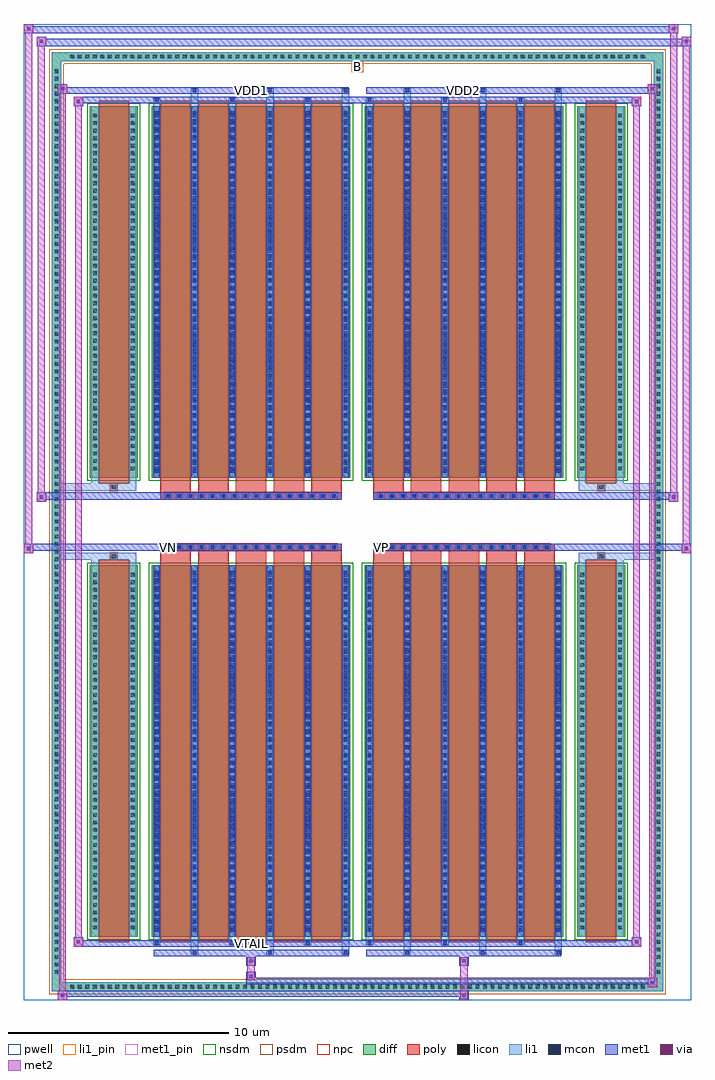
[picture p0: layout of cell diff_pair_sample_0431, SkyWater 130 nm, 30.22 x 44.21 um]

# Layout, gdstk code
import gdstk
lib = gdstk.Library(unit=1e-6, precision=5e-09)
def R(c, l, rs):  # rectangles x0, y0, x1, y1
    for r in rs: c.add(gdstk.rectangle(r[:2], r[2:], *l))
def A(c, l, x, y, w, h, nx, ny, dx, dy):  # array of equal rectangles
    R(c, l, [(x+i*dx, y+j*dy, x+i*dx+w, y+j*dy+h) for i in range(nx) for j in range(ny)])
def P(c, l, *ps):  # polygons
    for p in ps: c.add(gdstk.Polygon(p, *l))
pwell = (64, 44)
diff = (65, 20)
poly = (66, 20)
licon = (66, 44)
li1_pin = (67, 16)
li1 = (67, 20)
mcon = (67, 44)
met1_pin = (68, 16)
met1 = (68, 20)
via = (68, 44)
met2 = (69, 20)
nsdm = (93, 44)
psdm = (94, 20)
npc = (95, 20)

diff_pair_sample_0431 = lib.new_cell('diff_pair_sample_0431')
R(diff_pair_sample_0431, pwell, [(-15.11,-21.67,15.11,22.54), (-12.43,-19.86,-0.01,-0.8), (0.01,-19.86,12.43,-0.8), (-12.43,0.8,-0.01,19.86), (0.01,0.8,12.43,19.86)])
A(diff_pair_sample_0431, diff, -13.125, -21.27, 0.41, 0.41, 77, 2, 0.34, 42.13)
A(diff_pair_sample_0431, diff, -13.84, -20.605, 0.41, 0.41, 1, 121, 0, 0.34)
A(diff_pair_sample_0431, diff, 13.43, -20.605, 0.41, 0.41, 1, 121, 0, 0.34)
R(diff_pair_sample_0431, diff, [(-13.125,-21.27,13.125,-20.86), (-13.84,-20.605,-13.43,20.605), (13.43,-20.605,13.84,20.605), (-12.12,-18.815,-9.96,-1.985), (-9.32,-18.815,-0.32,-1.985), (0.32,-18.815,9.32,-1.985), (9.96,-18.815,12.12,-1.985), (-12.12,1.985,-9.96,18.815), (-9.32,1.985,-0.32,18.815), (0.32,1.985,9.32,18.815), (9.96,1.985,12.12,18.815), (-13.125,20.86,13.125,21.27)])
P(diff_pair_sample_0431, diff, [(13.84,21.27),(-13.84,21.27),(-13.84,-20.86),(-13.43,-20.86),(-13.43,20.86),(13.43,20.86),(13.43,-20.86),(-13.43,-20.86),(-13.84,-20.86),(-13.84,-21.27),(13.84,-21.27)])
A(diff_pair_sample_0431, poly, -8.93, -19.065, 1.38, 17.33, 5, 2, 1.71, 20.8)
A(diff_pair_sample_0431, poly, 0.71, -19.065, 1.38, 17.33, 5, 2, 1.71, 20.8)
A(diff_pair_sample_0431, poly, -8.93, -1.735, 1.38, 0.405, 5, 2, 1.71, 3.065)
A(diff_pair_sample_0431, poly, 0.71, -1.735, 1.38, 0.405, 5, 2, 1.71, 3.065)
A(diff_pair_sample_0431, poly, -8.735, -1.33, 0.33, 0.33, 16, 2, 0.5, 2.33)
A(diff_pair_sample_0431, poly, 0.905, -1.33, 0.33, 0.33, 16, 2, 0.5, 2.33)
R(diff_pair_sample_0431, poly, [(-11.73,-19.065,-10.35,-1.735), (10.35,-19.065,11.73,-1.735), (-11.205,-1.735,-10.875,-1.405), (-11.205,-1.735,-10.875,-1.405), (10.875,-1.735,11.205,-1.405), (10.875,-1.735,11.205,-1.405), (-8.93,-1.33,-0.71,-1), (0.71,-1.33,8.93,-1), (-8.93,1,-0.71,1.33), (0.71,1,8.93,1.33), (-11.205,1.405,-10.875,1.735), (-11.205,1.405,-10.875,1.735), (10.875,1.405,11.205,1.735), (10.875,1.405,11.205,1.735), (-11.73,1.735,-10.35,19.065), (10.35,1.735,11.73,19.065)])
A(diff_pair_sample_0431, licon, -13.005, -21.15, 0.17, 0.17, 77, 2, 0.34, 42.13)
A(diff_pair_sample_0431, licon, -13.72, -20.485, 0.17, 0.17, 1, 121, 0, 0.34)
A(diff_pair_sample_0431, licon, 13.55, -20.485, 0.17, 0.17, 1, 121, 0, 0.34)
A(diff_pair_sample_0431, licon, -11.98, -18.475, 0.17, 0.17, 1, 48, 0, 0.34)
A(diff_pair_sample_0431, licon, -10.27, -18.475, 0.17, 0.17, 1, 48, 0, 0.34)
A(diff_pair_sample_0431, licon, -9.18, -18.475, 0.17, 0.17, 6, 48, 1.71, 0.34)
A(diff_pair_sample_0431, licon, 0.46, -18.475, 0.17, 0.17, 6, 48, 1.71, 0.34)
A(diff_pair_sample_0431, licon, 10.1, -18.475, 0.17, 0.17, 1, 48, 0, 0.34)
A(diff_pair_sample_0431, licon, 11.81, -18.475, 0.17, 0.17, 1, 48, 0, 0.34)
A(diff_pair_sample_0431, licon, -8.655, -1.25, 0.17, 0.17, 16, 2, 0.5, 2.33)
A(diff_pair_sample_0431, licon, 0.985, -1.25, 0.17, 0.17, 16, 2, 0.5, 2.33)
A(diff_pair_sample_0431, licon, -11.98, 2.325, 0.17, 0.17, 1, 48, 0, 0.34)
A(diff_pair_sample_0431, licon, -10.27, 2.325, 0.17, 0.17, 1, 48, 0, 0.34)
A(diff_pair_sample_0431, licon, -9.18, 2.325, 0.17, 0.17, 6, 48, 1.71, 0.34)
A(diff_pair_sample_0431, licon, 0.46, 2.325, 0.17, 0.17, 6, 48, 1.71, 0.34)
A(diff_pair_sample_0431, licon, 10.1, 2.325, 0.17, 0.17, 1, 48, 0, 0.34)
A(diff_pair_sample_0431, licon, 11.81, 2.325, 0.17, 0.17, 1, 48, 0, 0.34)
R(diff_pair_sample_0431, licon, [(-11.125,-1.655,-10.955,-1.485), (10.955,-1.655,11.125,-1.485), (-11.125,1.485,-10.955,1.655), (10.955,1.485,11.125,1.655)])
R(diff_pair_sample_0431, li1_pin, [(-0.25,20.36,0.25,20.86)])
A(diff_pair_sample_0431, li1, -13.085, -21.23, 0.33, 0.33, 77, 2, 0.34, 42.13)
A(diff_pair_sample_0431, li1, -13.8, -20.565, 0.33, 0.33, 1, 121, 0, 0.34)
A(diff_pair_sample_0431, li1, 13.47, -20.565, 0.33, 0.33, 1, 121, 0, 0.34)
A(diff_pair_sample_0431, li1, -7.55, -19.62, 0.33, 0.805, 3, 2, 3.42, 38.435)
A(diff_pair_sample_0431, li1, -7.47, -19.62, 0.17, 0.17, 3, 2, 3.42, 39.07)
A(diff_pair_sample_0431, li1, 2.09, -19.62, 0.33, 0.805, 3, 2, 3.42, 38.435)
A(diff_pair_sample_0431, li1, 2.17, -19.62, 0.17, 0.17, 3, 2, 3.42, 39.07)
A(diff_pair_sample_0431, li1, -9.26, -19.19, 0.33, 0.375, 3, 2, 3.42, 38.005)
A(diff_pair_sample_0431, li1, -9.18, -19.19, 0.17, 0.17, 3, 2, 3.42, 38.21)
A(diff_pair_sample_0431, li1, 0.38, -19.19, 0.33, 0.375, 3, 2, 3.42, 38.005)
A(diff_pair_sample_0431, li1, 0.46, -19.19, 0.17, 0.17, 3, 2, 3.42, 38.21)
A(diff_pair_sample_0431, li1, -9.26, -18.815, 0.33, 16.83, 6, 2, 1.71, 20.8)
A(diff_pair_sample_0431, li1, 0.38, -18.815, 0.33, 16.83, 6, 2, 1.71, 20.8)
A(diff_pair_sample_0431, li1, -9.18, -18.585, 0.17, 0.17, 6, 46, 1.71, 0.36)
A(diff_pair_sample_0431, li1, -9.18, -18.585, 0.17, 16.37, 6, 2, 1.71, 20.8)
A(diff_pair_sample_0431, li1, 0.46, -18.585, 0.17, 0.17, 6, 46, 1.71, 0.36)
A(diff_pair_sample_0431, li1, 0.46, -18.585, 0.17, 16.37, 6, 2, 1.71, 20.8)
A(diff_pair_sample_0431, li1, -12.06, -18.555, 0.33, 0.33, 1, 48, 0, 0.34)
A(diff_pair_sample_0431, li1, -10.35, -18.555, 0.33, 0.33, 1, 48, 0, 0.34)
A(diff_pair_sample_0431, li1, -9.26, -18.555, 0.33, 0.33, 6, 48, 1.71, 0.34)
A(diff_pair_sample_0431, li1, 0.38, -18.555, 0.33, 0.33, 6, 48, 1.71, 0.34)
A(diff_pair_sample_0431, li1, 10.02, -18.555, 0.33, 0.33, 1, 48, 0, 0.34)
A(diff_pair_sample_0431, li1, 11.73, -18.555, 0.33, 0.33, 1, 48, 0, 0.34)
A(diff_pair_sample_0431, li1, -8.735, -1.33, 0.33, 0.33, 16, 2, 0.5, 2.33)
A(diff_pair_sample_0431, li1, 0.905, -1.33, 0.33, 0.33, 16, 2, 0.5, 2.33)
A(diff_pair_sample_0431, li1, -9.18, 2.215, 0.17, 0.17, 6, 46, 1.71, 0.36)
A(diff_pair_sample_0431, li1, 0.46, 2.215, 0.17, 0.17, 6, 46, 1.71, 0.36)
A(diff_pair_sample_0431, li1, -12.06, 2.245, 0.33, 0.33, 1, 48, 0, 0.34)
A(diff_pair_sample_0431, li1, -10.35, 2.245, 0.33, 0.33, 1, 48, 0, 0.34)
A(diff_pair_sample_0431, li1, -9.26, 2.245, 0.33, 0.33, 6, 48, 1.71, 0.34)
A(diff_pair_sample_0431, li1, 0.38, 2.245, 0.33, 0.33, 6, 48, 1.71, 0.34)
A(diff_pair_sample_0431, li1, 10.02, 2.245, 0.33, 0.33, 1, 48, 0, 0.34)
A(diff_pair_sample_0431, li1, 11.73, 2.245, 0.33, 0.33, 1, 48, 0, 0.34)
R(diff_pair_sample_0431, li1, [(-13.84,-21.27,-13.43,-20.86), (-13.84,-21.27,-13.43,-20.86), (-13.43,-21.27,13.43,-20.86), (13.43,-21.27,13.84,-20.86), (13.43,-21.27,13.84,-20.86), (-13.84,-20.86,-13.43,20.86), (13.43,-20.86,13.84,20.86), (-12.06,-18.815,-11.73,-1.985), (-10.35,-18.815,-10.02,-1.985), (10.02,-18.815,10.35,-1.985), (11.73,-18.815,12.06,-1.985), (-12.06,-1.985,-11.73,-1.405), (-10.35,-1.985,-10.02,-1.405), (10.02,-1.985,10.35,-1.405), (11.73,-1.985,12.06,-1.405), (-13.84,-1.735,-11.205,-1.405), (-12.06,-1.735,-11.205,-1.405), (-11.205,-1.735,-10.875,-1.405), (-10.875,-1.735,-10.02,-1.405), (10.02,-1.735,10.875,-1.405), (10.875,-1.735,11.205,-1.405), (10.875,-1.735,13.84,-1.405), (11.205,-1.735,12.06,-1.405), (-13.84,1.405,-11.205,1.735), (-12.06,1.405,-11.205,1.735), (-12.06,1.405,-11.73,1.985), (-11.205,1.405,-10.875,1.735), (-10.875,1.405,-10.02,1.735), (-10.35,1.405,-10.02,1.985), (10.02,1.405,10.875,1.735), (10.02,1.405,10.35,1.985), (10.875,1.405,11.205,1.735), (10.875,1.405,13.84,1.735), (11.205,1.405,12.06,1.735), (11.73,1.405,12.06,1.985), (-12.06,1.985,-11.73,18.815), (-10.35,1.985,-10.02,18.815), (10.02,1.985,10.35,18.815), (11.73,1.985,12.06,18.815), (-13.84,20.86,-13.43,21.27), (-13.84,20.86,-13.43,21.27), (-13.43,20.86,13.43,21.27), (13.43,20.86,13.84,21.27), (13.43,20.86,13.84,21.27)])
A(diff_pair_sample_0431, mcon, -7.47, -19.62, 0.17, 0.17, 3, 2, 3.42, 39.07)
A(diff_pair_sample_0431, mcon, 2.17, -19.62, 0.17, 0.17, 3, 2, 3.42, 39.07)
A(diff_pair_sample_0431, mcon, -9.18, -19.19, 0.17, 0.17, 3, 2, 3.42, 38.21)
A(diff_pair_sample_0431, mcon, 0.46, -19.19, 0.17, 0.17, 3, 2, 3.42, 38.21)
A(diff_pair_sample_0431, mcon, -9.18, -18.585, 0.17, 0.17, 6, 46, 1.71, 0.36)
A(diff_pair_sample_0431, mcon, 0.46, -18.585, 0.17, 0.17, 6, 46, 1.71, 0.36)
A(diff_pair_sample_0431, mcon, -8.655, -1.25, 0.17, 0.17, 16, 2, 0.5, 2.33)
A(diff_pair_sample_0431, mcon, 0.985, -1.25, 0.17, 0.17, 16, 2, 0.5, 2.33)
A(diff_pair_sample_0431, mcon, -9.18, 2.215, 0.17, 0.17, 6, 46, 1.71, 0.36)
A(diff_pair_sample_0431, mcon, 0.46, 2.215, 0.17, 0.17, 6, 46, 1.71, 0.36)
R(diff_pair_sample_0431, met1_pin, [(-4.955,-19.23,-4.685,-18.96), (-8.705,-1.29,-8.435,-1.02), (0.935,-1.29,1.205,-1.02), (-4.955,19.41,-4.685,19.68), (4.685,19.41,4.955,19.68)])
A(diff_pair_sample_0431, met1, -7.53, -19.68, 0.29, 0.29, 3, 2, 3.42, 39.07)
A(diff_pair_sample_0431, met1, 2.11, -19.68, 0.29, 0.29, 3, 2, 3.42, 39.07)
A(diff_pair_sample_0431, met1, -9.24, -19.25, 0.29, 0.29, 3, 2, 3.42, 38.21)
A(diff_pair_sample_0431, met1, 0.4, -19.25, 0.29, 0.29, 3, 2, 3.42, 38.21)
A(diff_pair_sample_0431, met1, -9.24, -18.815, 0.29, 16.83, 6, 2, 1.71, 20.8)
A(diff_pair_sample_0431, met1, 0.4, -18.815, 0.29, 16.83, 6, 2, 1.71, 20.8)
A(diff_pair_sample_0431, met1, -9.24, -18.645, 0.29, 0.29, 6, 46, 1.71, 0.36)
A(diff_pair_sample_0431, met1, 0.4, -18.645, 0.29, 0.29, 6, 46, 1.71, 0.36)
A(diff_pair_sample_0431, met1, -8.715, -1.31, 0.29, 0.29, 16, 2, 0.5, 2.33)
A(diff_pair_sample_0431, met1, 0.925, -1.31, 0.29, 0.29, 16, 2, 0.5, 2.33)
A(diff_pair_sample_0431, met1, -9.24, 2.155, 0.29, 0.29, 6, 46, 1.71, 0.36)
A(diff_pair_sample_0431, met1, 0.4, 2.155, 0.29, 0.29, 6, 46, 1.71, 0.36)
R(diff_pair_sample_0431, met1, [(-13.57,-21.67,-13.14,-21.24), (4.605,-21.67,5.035,-21.24), (-13.57,-21.53,5.035,-21.24), (13.14,-21.1,13.57,-20.67), (-5.035,-20.96,13.57,-20.67), (-5.035,-20.82,-4.605,-20.39), (-5.035,-20.11,-4.605,-19.68), (4.605,-20.11,5.035,-19.68), (-9.24,-19.68,-0.4,-19.39), (0.4,-19.68,9.24,-19.39), (-12.86,-19.25,-12.43,-18.82), (-12.86,-19.25,-9.24,-18.96), (-9.24,-19.25,-0.4,-18.96), (-0.4,-19.25,0.4,-18.96), (0.4,-19.25,9.24,-18.96), (9.24,-19.25,12.86,-18.96), (12.43,-19.25,12.86,-18.82), (-15.11,-1.43,-14.68,-1), (14.68,-1.43,15.11,-1), (-15.11,-1.33,-0.71,-1), (-8.93,-1.33,-0.71,-1), (0.71,-1.33,8.93,-1), (0.71,-1.33,15.11,-1), (-14.54,0.9,-14.11,1.33), (14.11,0.9,14.54,1.33), (-14.54,1,-8.93,1.33), (-8.93,1,-0.71,1.33), (0.71,1,8.93,1.33), (8.93,1,14.54,1.33), (-12.86,18.82,-12.43,19.25), (12.43,18.82,12.86,19.25), (-12.86,18.96,-9.24,19.25), (-9.24,18.96,-0.4,19.25), (-0.4,18.96,0.4,19.25), (0.4,18.96,9.24,19.25), (9.24,18.96,12.86,19.25), (-13.57,19.39,-13.14,19.82), (-13.57,19.39,-9.24,19.68), (-9.24,19.39,-0.4,19.68), (0.4,19.39,9.24,19.68), (9.24,19.39,13.57,19.68), (13.14,19.39,13.57,19.82), (-14.54,21.54,-14.11,21.97), (-14.54,21.54,-12.43,21.87), (-12.43,21.54,12.43,21.87), (12.43,21.54,15.11,21.87), (14.68,21.54,15.11,21.97), (-15.11,22.11,-14.68,22.54), (-15.11,22.11,-12.43,22.44), (-12.43,22.11,12.43,22.44), (12.43,22.11,14.54,22.44), (14.11,22.11,14.54,22.54)])
R(diff_pair_sample_0431, via, [(-13.43,-21.53,-13.28,-21.38), (4.745,-21.53,4.895,-21.38), (13.28,-20.96,13.43,-20.81), (-4.895,-20.68,-4.745,-20.53), (-4.895,-19.97,-4.745,-19.82), (4.745,-19.97,4.895,-19.82), (-12.72,-19.11,-12.57,-18.96), (12.57,-19.11,12.72,-18.96), (-14.97,-1.29,-14.82,-1.14), (14.82,-1.29,14.97,-1.14), (-14.4,1.04,-14.25,1.19), (14.25,1.04,14.4,1.19), (-12.72,18.96,-12.57,19.11), (12.57,18.96,12.72,19.11), (-13.43,19.53,-13.28,19.68), (13.28,19.53,13.43,19.68), (-14.4,21.68,-14.25,21.83), (14.82,21.68,14.97,21.83), (-14.97,22.25,-14.82,22.4), (14.25,22.25,14.4,22.4)])
R(diff_pair_sample_0431, met2, [(-13.57,-21.67,-13.14,-21.24), (-13.5,-21.67,-13.21,19.82), (-13.21,-21.67,-13.14,-21.24), (-13.52,-21.62,-13.19,-21.29), (4.655,-21.62,4.985,-21.29), (4.655,-21.29,4.985,-20.06), (13.14,-21.1,13.57,-20.67), (13.21,-21.1,13.5,19.82), (13.5,-21.1,13.57,-20.67), (13.19,-21.05,13.52,-20.72), (-4.985,-20.77,-4.655,-20.44), (-4.985,-20.44,-4.655,-20.06), (-4.985,-20.06,-4.655,-19.73), (4.655,-20.06,4.985,-19.73), (-12.86,-19.25,-12.43,-18.82), (-12.79,-19.25,-12.5,19.25), (-12.5,-19.25,-12.43,-18.82), (12.43,-19.25,12.86,-18.82), (12.5,-19.25,12.79,19.25), (12.79,-19.25,12.86,-18.82), (-12.81,-19.2,-12.48,-18.87), (12.48,-19.2,12.81,-18.87), (-15.11,-1.43,-14.68,-1), (-15.06,-1.43,-14.73,22.54), (-14.73,-1.43,-14.68,-1), (14.68,-1.43,15.11,-1), (14.73,-1.43,15.06,21.97), (15.06,-1.43,15.11,-1), (-15.06,-1.38,-14.73,-1.05), (14.73,-1.38,15.06,-1.05), (-14.54,0.9,-14.11,1.33), (-14.49,0.9,-14.16,21.97), (-14.16,0.9,-14.11,1.33), (14.11,0.9,14.54,1.33), (14.16,0.9,14.49,22.54), (14.49,0.9,14.54,1.33), (-14.49,0.95,-14.16,1.28), (14.16,0.95,14.49,1.28), (-12.86,18.82,-12.43,19.25), (-12.5,18.82,-12.43,19.25), (12.43,18.82,12.86,19.25), (12.79,18.82,12.86,19.25), (-12.81,18.87,-12.48,19.2), (12.48,18.87,12.81,19.2), (-13.57,19.39,-13.14,19.82), (-13.21,19.39,-13.14,19.82), (13.14,19.39,13.57,19.82), (13.5,19.39,13.57,19.82), (-13.52,19.44,-13.19,19.77), (13.19,19.44,13.52,19.77), (-14.54,21.54,-14.11,21.97), (-14.16,21.54,-14.11,21.97), (14.68,21.54,15.11,21.97), (15.06,21.54,15.11,21.97), (-14.49,21.59,-14.16,21.92), (14.73,21.59,15.06,21.92), (-15.11,22.11,-14.68,22.54), (-14.73,22.11,-14.68,22.54), (14.11,22.11,14.54,22.54), (14.49,22.11,14.54,22.54), (-15.06,22.16,-14.73,22.49), (14.16,22.16,14.49,22.49)])
R(diff_pair_sample_0431, nsdm, [(-12.25,-18.945,-9.83,-1.855), (-9.45,-18.945,-0.19,-1.855), (0.19,-18.945,9.45,-1.855), (9.83,-18.945,12.25,-1.855), (-12.25,1.855,-9.83,18.945), (-9.45,1.855,-0.19,18.945), (0.19,1.855,9.45,18.945), (9.83,1.855,12.25,18.945)])
P(diff_pair_sample_0431, psdm, [(13.97,21.4),(-13.97,21.4),(-13.97,-20.73),(-13.3,-20.73),(-13.3,20.73),(13.3,20.73),(13.3,-20.73),(-13.3,-20.73),(-13.97,-20.73),(-13.97,-21.4),(13.97,-21.4)])
A(diff_pair_sample_0431, npc, -8.755, -1.35, 0.37, 0.37, 16, 2, 0.5, 2.33)
A(diff_pair_sample_0431, npc, 0.885, -1.35, 0.37, 0.37, 16, 2, 0.5, 2.33)
R(diff_pair_sample_0431, npc, [(-11.225,-1.755,-10.855,-1.385), (10.855,-1.755,11.225,-1.385), (-8.755,-1.35,-7.885,-0.98), (-8.755,-1.35,-7.885,-0.98), (-8.255,-1.35,-7.385,-0.98), (-8.255,-1.35,-7.385,-0.98), (-7.755,-1.35,-6.885,-0.98), (-7.755,-1.35,-6.885,-0.98), (-7.255,-1.35,-6.385,-0.98), (-7.255,-1.35,-6.385,-0.98), (-6.755,-1.35,-5.885,-0.98), (-6.755,-1.35,-5.885,-0.98), (-6.255,-1.35,-5.385,-0.98), (-6.255,-1.35,-5.385,-0.98), (-5.755,-1.35,-4.885,-0.98), (-5.755,-1.35,-4.885,-0.98), (-5.255,-1.35,-4.385,-0.98), (-5.255,-1.35,-4.385,-0.98), (-4.755,-1.35,-3.885,-0.98), (-4.755,-1.35,-3.885,-0.98), (-4.255,-1.35,-3.385,-0.98), (-4.255,-1.35,-3.385,-0.98), (-3.755,-1.35,-2.885,-0.98), (-3.755,-1.35,-2.885,-0.98), (-3.255,-1.35,-2.385,-0.98), (-3.255,-1.35,-2.385,-0.98), (-2.755,-1.35,-1.885,-0.98), (-2.755,-1.35,-1.885,-0.98), (-2.255,-1.35,-1.385,-0.98), (-2.255,-1.35,-1.385,-0.98), (-1.755,-1.35,-0.885,-0.98), (-1.755,-1.35,-0.885,-0.98), (0.885,-1.35,1.755,-0.98), (0.885,-1.35,1.755,-0.98), (1.385,-1.35,2.255,-0.98), (1.385,-1.35,2.255,-0.98), (1.885,-1.35,2.755,-0.98), (1.885,-1.35,2.755,-0.98), (2.385,-1.35,3.255,-0.98), (2.385,-1.35,3.255,-0.98), (2.885,-1.35,3.755,-0.98), (2.885,-1.35,3.755,-0.98), (3.385,-1.35,4.255,-0.98), (3.385,-1.35,4.255,-0.98), (3.885,-1.35,4.755,-0.98), (3.885,-1.35,4.755,-0.98), (4.385,-1.35,5.255,-0.98), (4.385,-1.35,5.255,-0.98), (4.885,-1.35,5.755,-0.98), (4.885,-1.35,5.755,-0.98), (5.385,-1.35,6.255,-0.98), (5.385,-1.35,6.255,-0.98), (5.885,-1.35,6.755,-0.98), (5.885,-1.35,6.755,-0.98), (6.385,-1.35,7.255,-0.98), (6.385,-1.35,7.255,-0.98), (6.885,-1.35,7.755,-0.98), (6.885,-1.35,7.755,-0.98), (7.385,-1.35,8.255,-0.98), (7.385,-1.35,8.255,-0.98), (7.885,-1.35,8.755,-0.98), (7.885,-1.35,8.755,-0.98), (-8.755,0.98,-7.885,1.35), (-8.755,0.98,-7.885,1.35), (-8.255,0.98,-7.385,1.35), (-8.255,0.98,-7.385,1.35), (-7.755,0.98,-6.885,1.35), (-7.755,0.98,-6.885,1.35), (-7.255,0.98,-6.385,1.35), (-7.255,0.98,-6.385,1.35), (-6.755,0.98,-5.885,1.35), (-6.755,0.98,-5.885,1.35), (-6.255,0.98,-5.385,1.35), (-6.255,0.98,-5.385,1.35), (-5.755,0.98,-4.885,1.35), (-5.755,0.98,-4.885,1.35), (-5.255,0.98,-4.385,1.35), (-5.255,0.98,-4.385,1.35), (-4.755,0.98,-3.885,1.35), (-4.755,0.98,-3.885,1.35), (-4.255,0.98,-3.385,1.35), (-4.255,0.98,-3.385,1.35), (-3.755,0.98,-2.885,1.35), (-3.755,0.98,-2.885,1.35), (-3.255,0.98,-2.385,1.35), (-3.255,0.98,-2.385,1.35), (-2.755,0.98,-1.885,1.35), (-2.755,0.98,-1.885,1.35), (-2.255,0.98,-1.385,1.35), (-2.255,0.98,-1.385,1.35), (-1.755,0.98,-0.885,1.35), (-1.755,0.98,-0.885,1.35), (0.885,0.98,1.755,1.35), (0.885,0.98,1.755,1.35), (1.385,0.98,2.255,1.35), (1.385,0.98,2.255,1.35), (1.885,0.98,2.755,1.35), (1.885,0.98,2.755,1.35), (2.385,0.98,3.255,1.35), (2.385,0.98,3.255,1.35), (2.885,0.98,3.755,1.35), (2.885,0.98,3.755,1.35), (3.385,0.98,4.255,1.35), (3.385,0.98,4.255,1.35), (3.885,0.98,4.755,1.35), (3.885,0.98,4.755,1.35), (4.385,0.98,5.255,1.35), (4.385,0.98,5.255,1.35), (4.885,0.98,5.755,1.35), (4.885,0.98,5.755,1.35), (5.385,0.98,6.255,1.35), (5.385,0.98,6.255,1.35), (5.885,0.98,6.755,1.35), (5.885,0.98,6.755,1.35), (6.385,0.98,7.255,1.35), (6.385,0.98,7.255,1.35), (6.885,0.98,7.755,1.35), (6.885,0.98,7.755,1.35), (7.385,0.98,8.255,1.35), (7.385,0.98,8.255,1.35), (7.885,0.98,8.755,1.35), (7.885,0.98,8.755,1.35), (-11.225,1.385,-10.855,1.755), (10.855,1.385,11.225,1.755)])
diff_pair_sample_0431.add(gdstk.Label('VTAIL', (-4.82,-19.095), layer=68, texttype=5))
diff_pair_sample_0431.add(gdstk.Label('VN', (-8.57,-1.155), layer=68, texttype=5))
diff_pair_sample_0431.add(gdstk.Label('VP', (1.07,-1.155), layer=68, texttype=5))
diff_pair_sample_0431.add(gdstk.Label('B', (0,20.61), layer=67, texttype=5))
diff_pair_sample_0431.add(gdstk.Label('VDD2', (4.82,19.545), layer=68, texttype=5))
diff_pair_sample_0431.add(gdstk.Label('VDD1', (-4.82,19.545), layer=68, texttype=5))

lib.write_gds('diff_pair_sample_0431.gds')
